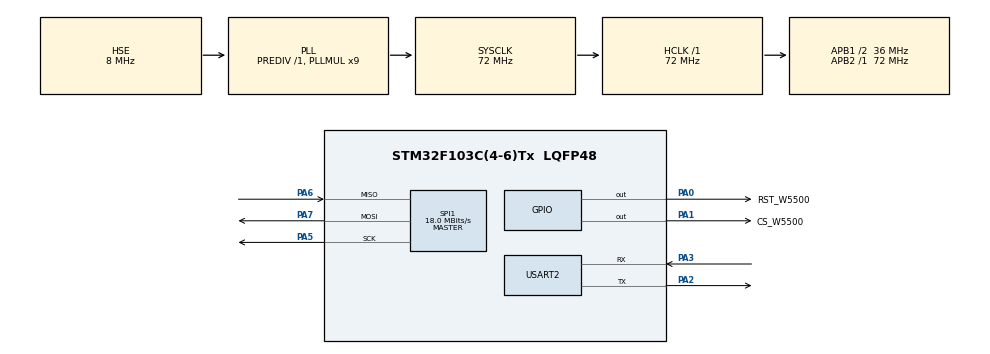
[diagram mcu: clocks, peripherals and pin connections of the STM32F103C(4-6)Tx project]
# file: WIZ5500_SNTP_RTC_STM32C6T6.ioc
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Mcu.Family=STM32F1
Mcu.Name=STM32F103C(4-6)Tx
Mcu.Package=LQFP48
NVIC.PriorityGroup=NVIC_PRIORITYGROUP_4
PA0-WKUP.GPIO_Label=RST_W5500
PA0-WKUP.Signal=GPIO_Output
PA1.GPIO_Label=CS_W5500
PA1.Signal=GPIO_Output
PA13.Mode=Serial_Wire
PA13.Signal=SYS_JTMS-SWDIO
PA14.Mode=Serial_Wire
PA14.Signal=SYS_JTCK-SWCLK
PA2.Mode=Asynchronous
PA2.Signal=USART2_TX
PA3.Mode=Asynchronous
PA3.Signal=USART2_RX
PA5.Mode=Full_Duplex_Master
PA5.Signal=SPI1_SCK
PA6.Mode=Full_Duplex_Master
PA6.Signal=SPI1_MISO
PA7.Mode=Full_Duplex_Master
PA7.Signal=SPI1_MOSI
PD0-OSC_IN.Mode=HSE-External-Oscillator
PD0-OSC_IN.Signal=RCC_OSC_IN
PD1-OSC_OUT.Mode=HSE-External-Oscillator
PD1-OSC_OUT.Signal=RCC_OSC_OUT
ProjectManager.HeapSize=0x200
ProjectManager.StackSize=0x400
ProjectManager.TargetToolchain=STM32CubeIDE
RCC.AHBFreq_Value=72000000
RCC.APB1CLKDivider=RCC_HCLK_DIV2
RCC.APB1Freq_Value=36000000
RCC.APB1TimFreq_Value=72000000
RCC.APB2Freq_Value=72000000
RCC.APB2TimFreq_Value=72000000
RCC.HCLKFreq_Value=72000000
RCC.PLLMUL=RCC_PLL_MUL9
RCC.PLLSourceVirtual=RCC_PLLSOURCE_HSE
RCC.RTCClockSelection=RCC_RTCCLKSOURCE_HSE_DIV128
RCC.SYSCLKFreq_VALUE=72000000
RCC.SYSCLKSource=RCC_SYSCLKSOURCE_PLLCLK
RCC.USBFreq_Value=72000000
RTC.Date=27
RTC.Format=RTC_FORMAT_BCD
RTC.Hours=14
RTC.Minutes=45
RTC.Month=RTC_MONTH_APRIL
RTC.WeekDay=RTC_WEEKDAY_SATURDAY
SPI1.BaudRatePrescaler=SPI_BAUDRATEPRESCALER_4
SPI1.CalculateBaudRate=18.0 MBits/s
SPI1.Direction=SPI_DIRECTION_2LINES
SPI1.Mode=SPI_MODE_MASTER
SPI1.VirtualType=VM_MASTER
USART2.VirtualMode=VM_ASYNC
VP_RTC_VS_RTC_Activate.Mode=RTC_Enabled
VP_RTC_VS_RTC_Calendar.Mode=RTC_Calendar
board=custom

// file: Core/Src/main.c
/* USER CODE BEGIN Header */
/**
  ******************************************************************************
  * @file           : main.c
  * @brief          : Main program body
  ******************************************************************************
  * @attention
  *
  * Copyright (c) 2024 STMicroelectronics.
  * All rights reserved.
  *
  * This software is licensed under terms that can be found in the LICENSE file
  * in the root directory of this software component.
  * If no LICENSE file comes with this software, it is provided AS-IS.
  *
  ******************************************************************************
  */
/* USER CODE END Header */
#include "main.h"

/* USER CODE BEGIN Includes */
#include "socket.h"
#include "wizchip_conf.h"
#include "W5500_Spi.h"
#include <stdio.h>
#include "sntp.h"
#include "dns.h"
/* USER CODE END Includes */

/* USER CODE BEGIN PTD */
wiz_NetInfo gWIZNETINFO = {
		.mac = { 0x80, 0x34, 0x28, 0x74, 0xA5, 0xCB },//MSB - LSB
		.ip ={ 192, 168, 1, 112 },
		.sn = { 255, 255, 255, 0 },
		.gw ={ 192, 168, 1, 1 },
		.dns = { 192, 168, 1, 1 },
		.dhcp = NETINFO_STATIC };
/* USER CODE END PTD */

RTC_HandleTypeDef hrtc;

SPI_HandleTypeDef hspi1;

UART_HandleTypeDef huart2;

void SystemClock_Config(void);
static void MX_GPIO_Init(void);
static void MX_SPI1_Init(void);
static void MX_USART2_UART_Init(void);
static void MX_RTC_Init(void);
/* USER CODE BEGIN PFP */
static void UWriteData(const char data);
static void PHYStatusCheck(void);
static void PrintPHYConf(void);
void set_time (datetime time,RTC_TimeTypeDef sTime,RTC_DateTypeDef sDate);
/* USER CODE END PFP */

/* USER CODE BEGIN 0 */
void UWriteData(const char data)
{
	while(__HAL_UART_GET_FLAG(&huart2,UART_FLAG_TXE)==RESET);

	huart2.Instance->DR=data;

}

int __io_putchar(int ch)
{
	UWriteData(ch);
	return ch;
}

void PHYStatusCheck(void)
{
	uint8_t tmp;

	do
	{
		printf("\r\nChecking Ethernet Cable Presence ...");
		ctlwizchip(CW_GET_PHYLINK, (void*) &tmp);

		if(tmp == PHY_LINK_OFF)
		{
			printf("NO Cable Connected!");
			HAL_Delay(1000);
		}
	}while(tmp == PHY_LINK_OFF);

	printf("Good! Cable got connected!");

}

void PrintPHYConf(void)
{
	wiz_PhyConf phyconf;

	ctlwizchip(CW_GET_PHYCONF, (void*) &phyconf);

	if(phyconf.by==PHY_CONFBY_HW)
	{
		printf("\n\rPHY Configured by Hardware Pins");
	}
	else
	{
		printf("\n\rPHY Configured by Registers");
	}

	if(phyconf.mode==PHY_MODE_AUTONEGO)
	{
		printf("\n\rAutonegotiation Enabled");
	}
	else
	{
		printf("\n\rAutonegotiation NOT Enabled");
	}

	if(phyconf.duplex==PHY_DUPLEX_FULL)
	{
		printf("\n\rDuplex Mode: Full");
	}
	else
	{
		printf("\n\rDuplex Mode: Half");
	}

	if(phyconf.speed==PHY_SPEED_10)
	{
		printf("\n\rSpeed: 10Mbps");
	}
	else
	{
		printf("\n\rSpeed: 100Mbps");
	}
}

void set_time (datetime time,RTC_TimeTypeDef sTime,RTC_DateTypeDef sDate)
{

  sTime.Hours = time.hh; // set hours
  sTime.Minutes = time.mm; // set minutes
  sTime.Seconds = time.ss; // set seconds
  if (HAL_RTC_SetTime(&hrtc, &sTime, RTC_FORMAT_BIN) != HAL_OK)
  {
  //  _Error_Handler(__FILE__, __LINE__);
  }
  sDate.WeekDay = RTC_WEEKDAY_SUNDAY; //

  sDate.Month = time.mo ; //

  sDate.Date = time.dd; // date
  sDate.Year = time.yy-2000; // year
  if (HAL_RTC_SetDate(&hrtc, &sDate, RTC_FORMAT_BIN) != HAL_OK)
  {
   // _Error_Handler(__FILE__, __LINE__);
  }
 // HAL_RTCEx_BKUPWrite(&hrtc, RTC_BKP_DR1, 0x32F2); // backup register
}

void get_time(RTC_TimeTypeDef gTime,RTC_DateTypeDef gDate)
{

 char time[10];

 char date[10];

/* Get the RTC current Time */
 HAL_RTC_GetTime(&hrtc, &gTime, RTC_FORMAT_BIN);
/* Get the RTC current Date */
 HAL_RTC_GetDate(&hrtc, &gDate, RTC_FORMAT_BIN);
/* Display time Format: hh:mm:ss */
 sprintf((char*)time,"%02d:%02d:%02d",gTime.Hours, gTime.Minutes, gTime.Seconds);
 printf("\r time = %s\n",time);
/* Display date Format: dd-mm-yy */
 sprintf((char*)date,"%02d-%02d-%2d",gDate.Date, gDate.Month, 2000 + gDate.Year);
 printf("\r Date = %s\n",date);

}
/* USER CODE END 0 */

int main(void)
{
  /* USER CODE BEGIN 1 */
	datetime time;
  /* USER CODE END 1 */

  /* MCU Configuration--------------------------------------------------------*/

  /* Reset of all peripherals, Initializes the Flash interface and the Systick. */
  HAL_Init();

  /* USER CODE BEGIN Init */
  setbuf(stdout, NULL);
  /* USER CODE END Init */

  /* Configure the system clock */
  SystemClock_Config();

  /* Initialize all configured peripherals */
  MX_GPIO_Init();
  MX_SPI1_Init();
  MX_USART2_UART_Init();
  MX_RTC_Init();
  /* USER CODE BEGIN 2 */
  printf("Configuring RTC with SNTP !\r\n");

   W5500Init();

   ctlnetwork(CN_SET_NETINFO, (void*) &gWIZNETINFO);
   PHYStatusCheck();
   PrintPHYConf();

///****** DNS Vriabales ******//
#define SOCK_DNS	6
#define ETH_MAX_BUF_SIZE	2048
unsigned char gDATABUF_DNS[ETH_MAX_BUF_SIZE];

uint8_t Domain_name0[] = "1.pool.ntp.org";
uint8_t Domain_name1[] = "0.pool.ntp.org";
uint8_t Domain_IP[4];  // Translated IP address by DNS Server
int8_t DNSret;

///****** SNTP Variables ******//
#define SOCK_SNTP       7
unsigned char gDATABUF_SNTP[MAX_SNTP_BUF_SIZE];
const uint8_t SNTP_TIMEZONE = 34;  // (34) UTC+05:30 - India (look at sntp.c)

///*******RTC Variables ******//
RTC_DateTypeDef rtcDate;
RTC_TimeTypeDef rtcTime;

///**************************///

DNS_init(SOCK_DNS, gDATABUF_DNS);   // DNS client Initialization

if ((DNSret = DNS_run(gWIZNETINFO.dns, Domain_name0, Domain_IP))==1)  //Trying 1st DNS server
	{
		printf("\n\r> DNS1 for %s return= %d", Domain_name0, DNSret);
		printf("\n\r> Translated %s to [%d.%d.%d.%d]\r\n\r\n",Domain_name0,Domain_IP[0],Domain_IP[1],Domain_IP[2],Domain_IP[3]);
	}
	else if ((DNSret = DNS_run(gWIZNETINFO.dns, Domain_name1, Domain_IP))==1) //Trying 2st DNS server
	{
		printf("\n\r> 1st DNS Failed, trying DNS2");
		printf("\n\r> DNS2 for %s return= %d", Domain_name1, DNSret);
		printf("\n\r> Translated %s to [%d.%d.%d.%d]\r\n\r\n",Domain_name1,Domain_IP[0],Domain_IP[1],Domain_IP[2],Domain_IP[3]);
	}
	else {printf("\n\r> Error resolving %s - DNS Failed !!\n\r\n\r", Domain_name0);}  //Query to both servers failed

	if(DNSret > 0)  // sntp server ip resolved, so init SNTP client
		{
		printf("\n\r> Initializing SNTP from %s", Domain_name0);
		SNTP_init(SOCK_SNTP, Domain_IP, SNTP_TIMEZONE, gDATABUF_SNTP);
		}
	else {printf("\n\r> SNTP Error!! could not resolve %s", Domain_name0);}

	while( SNTP_run(&time) !=1){}

    printf("\n\r> %02d/%02d/%d, %02d:%02d:%02d", time.dd,  time.mo, time.yy, time.hh, time.mm, time.ss);

	//HAL_Delay(1000);

	set_time(time, rtcTime, rtcDate);

  /* USER CODE END 2 */

  /* Infinite loop */
  /* USER CODE BEGIN WHILE */
  while (1)
  {
	  get_time(rtcTime, rtcDate);
	  HAL_Delay(1000);

    /* USER CODE END WHILE */

  }
}

void SystemClock_Config(void)
{
  RCC_OscInitTypeDef RCC_OscInitStruct = {0};
  RCC_ClkInitTypeDef RCC_ClkInitStruct = {0};
  RCC_PeriphCLKInitTypeDef PeriphClkInit = {0};

  /** Initializes the RCC Oscillators according to the specified parameters
  * in the RCC_OscInitTypeDef structure.
  */
  RCC_OscInitStruct.OscillatorType = RCC_OSCILLATORTYPE_HSE;
  RCC_OscInitStruct.HSEState = RCC_HSE_ON;
  RCC_OscInitStruct.HSEPredivValue = RCC_HSE_PREDIV_DIV1;
  RCC_OscInitStruct.HSIState = RCC_HSI_ON;
  RCC_OscInitStruct.PLL.PLLState = RCC_PLL_ON;
  RCC_OscInitStruct.PLL.PLLSource = RCC_PLLSOURCE_HSE;
  RCC_OscInitStruct.PLL.PLLMUL = RCC_PLL_MUL9;
  if (HAL_RCC_OscConfig(&RCC_OscInitStruct) != HAL_OK)
  {
    Error_Handler();
  }

  /** Initializes the CPU, AHB and APB buses clocks
  */
  RCC_ClkInitStruct.ClockType = RCC_CLOCKTYPE_HCLK|RCC_CLOCKTYPE_SYSCLK
                              |RCC_CLOCKTYPE_PCLK1|RCC_CLOCKTYPE_PCLK2;
  RCC_ClkInitStruct.SYSCLKSource = RCC_SYSCLKSOURCE_PLLCLK;
  RCC_ClkInitStruct.AHBCLKDivider = RCC_SYSCLK_DIV1;
  RCC_ClkInitStruct.APB1CLKDivider = RCC_HCLK_DIV2;
  RCC_ClkInitStruct.APB2CLKDivider = RCC_HCLK_DIV1;

  if (HAL_RCC_ClockConfig(&RCC_ClkInitStruct, FLASH_LATENCY_2) != HAL_OK)
  {
    Error_Handler();
  }
  PeriphClkInit.PeriphClockSelection = RCC_PERIPHCLK_RTC;
  PeriphClkInit.RTCClockSelection = RCC_RTCCLKSOURCE_HSE_DIV128;
  if (HAL_RCCEx_PeriphCLKConfig(&PeriphClkInit) != HAL_OK)
  {
    Error_Handler();
  }
}

static void MX_RTC_Init(void)
{

  RTC_TimeTypeDef sTime = {0};
  RTC_DateTypeDef DateToUpdate = {0};

  /** Initialize RTC Only
  */
  hrtc.Instance = RTC;
  hrtc.Init.AsynchPrediv = RTC_AUTO_1_SECOND;
  hrtc.Init.OutPut = RTC_OUTPUTSOURCE_ALARM;
  if (HAL_RTC_Init(&hrtc) != HAL_OK)
  {
    Error_Handler();
  }

  /** Initialize RTC and set the Time and Date
  */
  sTime.Hours = 0x14;
  sTime.Minutes = 0x45;
  sTime.Seconds = 0x0;

  if (HAL_RTC_SetTime(&hrtc, &sTime, RTC_FORMAT_BCD) != HAL_OK)
  {
    Error_Handler();
  }
  DateToUpdate.WeekDay = RTC_WEEKDAY_SATURDAY;
  DateToUpdate.Month = RTC_MONTH_APRIL;
  DateToUpdate.Date = 0x27;
  DateToUpdate.Year = 0x0;

  if (HAL_RTC_SetDate(&hrtc, &DateToUpdate, RTC_FORMAT_BCD) != HAL_OK)
  {
    Error_Handler();
  }

}

static void MX_SPI1_Init(void)
{

  /* SPI1 parameter configuration*/
  hspi1.Instance = SPI1;
  hspi1.Init.Mode = SPI_MODE_MASTER;
  hspi1.Init.Direction = SPI_DIRECTION_2LINES;
  hspi1.Init.DataSize = SPI_DATASIZE_8BIT;
  hspi1.Init.CLKPolarity = SPI_POLARITY_LOW;
  hspi1.Init.CLKPhase = SPI_PHASE_1EDGE;
  hspi1.Init.NSS = SPI_NSS_SOFT;
  hspi1.Init.BaudRatePrescaler = SPI_BAUDRATEPRESCALER_4;
  hspi1.Init.FirstBit = SPI_FIRSTBIT_MSB;
  hspi1.Init.TIMode = SPI_TIMODE_DISABLE;
  hspi1.Init.CRCCalculation = SPI_CRCCALCULATION_DISABLE;
  hspi1.Init.CRCPolynomial = 10;
  if (HAL_SPI_Init(&hspi1) != HAL_OK)
  {
    Error_Handler();
  }
  /* USER CODE BEGIN SPI1_Init 2 */
  __HAL_SPI_ENABLE(&hspi1);
  /* USER CODE END SPI1_Init 2 */

}

static void MX_USART2_UART_Init(void)
{

  huart2.Instance = USART2;
  huart2.Init.BaudRate = 115200;
  huart2.Init.WordLength = UART_WORDLENGTH_8B;
  huart2.Init.StopBits = UART_STOPBITS_1;
  huart2.Init.Parity = UART_PARITY_NONE;
  huart2.Init.Mode = UART_MODE_TX_RX;
  huart2.Init.HwFlowCtl = UART_HWCONTROL_NONE;
  huart2.Init.OverSampling = UART_OVERSAMPLING_16;
  if (HAL_UART_Init(&huart2) != HAL_OK)
  {
    Error_Handler();
  }

}

static void MX_GPIO_Init(void)
{
  GPIO_InitTypeDef GPIO_InitStruct = {0};

  /* GPIO Ports Clock Enable */
  __HAL_RCC_GPIOD_CLK_ENABLE();
  __HAL_RCC_GPIOA_CLK_ENABLE();

  /*Configure GPIO pin Output Level */
  HAL_GPIO_WritePin(GPIOA, RST_W5500_Pin|CS_W5500_Pin, GPIO_PIN_RESET);

  /*Configure GPIO pins : RST_W5500_Pin CS_W5500_Pin */
  GPIO_InitStruct.Pin = RST_W5500_Pin|CS_W5500_Pin;
  GPIO_InitStruct.Mode = GPIO_MODE_OUTPUT_PP;
  GPIO_InitStruct.Pull = GPIO_NOPULL;
  GPIO_InitStruct.Speed = GPIO_SPEED_FREQ_LOW;
  HAL_GPIO_Init(GPIOA, &GPIO_InitStruct);

}

void Error_Handler(void)
{
  __disable_irq();
  while (1)
  {
  }
}
